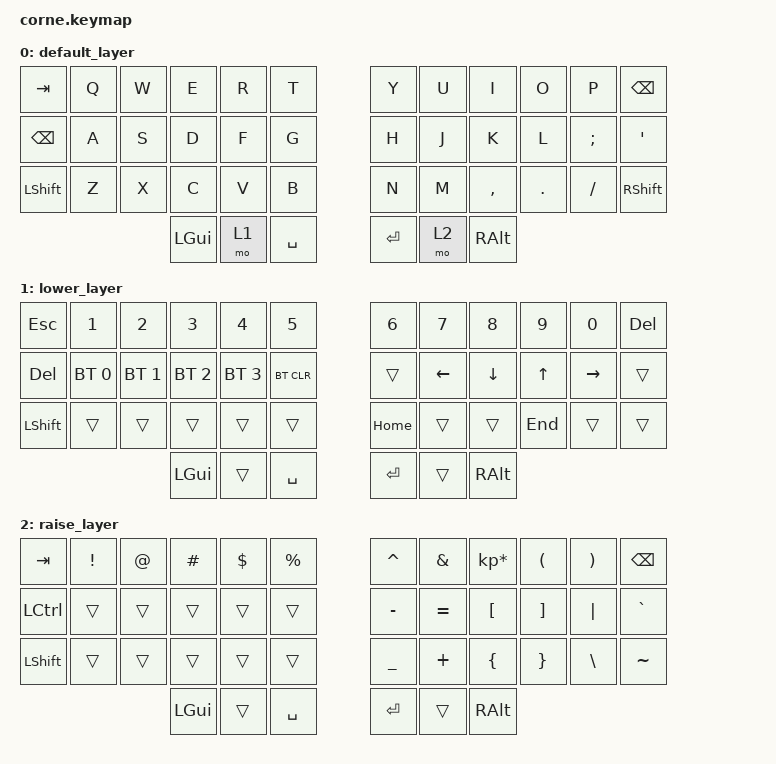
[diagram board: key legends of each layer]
/*
 * Copyright (c) 2020 The ZMK Contributors
 *
 * SPDX-License-Identifier: MIT
 */

#include <behaviors.dtsi>
#include <dt-bindings/zmk/keys.h>
#include <dt-bindings/zmk/bt.h>

/ {
        keymap {
                compatible = "zmk,keymap";

                default_layer {
// -----------------------------------------------------------------------------------------
// |  TAB |  Q  |  W  |  E  |  R  |  T  |   |  Y  |  U   |  I  |  O  |  P  | BKSP |
// | BKSP |  A  |  S  |  D  |  F  |  G  |   |  H  |  J   |  K  |  L  |  ;  |  '   |
// | SHFT |  Z  |  X  |  C  |  V  |  B  |   |  N  |  M   |  ,  |  .  |  /  | SHFT |
//                    | GUI | LWR | SPC |   | ENT | RSE  | ALT |
                        bindings = <
   &kp TAB   &kp Q &kp W &kp E &kp R &kp T   &kp Y &kp U  &kp I     &kp O   &kp P    &kp BSPC
   &kp BSPC  &kp A &kp S &kp D &kp F &kp G   &kp H &kp J  &kp K     &kp L   &kp SEMI &kp SQT
   &kp LSHFT &kp Z &kp X &kp C &kp V &kp B   &kp N &kp M  &kp COMMA &kp DOT &kp FSLH &kp RSHFT
                  &kp LGUI &mo 1 &kp SPACE   &kp RET &mo 2 &kp RALT
                        >;
                };
                lower_layer {
// -----------------------------------------------------------------------------------------
// |  ESC |  1  |  2  |  3  |  4  |  5  |   |  6  |  7  |  8  |  9  |  0  | DEL  |
// | DEL  | BT1 | BT2 | BT3 | BT4 |BTCLR|   | LFT | DWN |  UP | RGT |     |      |
// | SHFT |     |     |     |     |     |   | Home|     |     | End |    |      |
//                    | GUI |     | SPC |   | ENT |     | ALT |
                        bindings = <
   &kp ESC    &kp N1       &kp N2       &kp N3       &kp N4       &kp N5     &kp N6   &kp N7   &kp N8   &kp N9  &kp N0     &kp DEL
   &kp DEL &bt BT_SEL 0 &bt BT_SEL 1 &bt BT_SEL 2 &bt BT_SEL 3 &bt BT_CLR    &trans   &kp LEFT &kp DOWN &kp UP  &kp RIGHT  &trans
   &kp LSHFT  &trans       &trans       &trans       &trans       &trans     &kp HOME &trans   &trans   &kp END &trans     &trans
                          	        &kp LGUI     &trans       &kp SPACE  &kp RET  &trans   &kp RALT
                        >;
                };

                raise_layer {
// -----------------------------------------------------------------------------------------
// |  TAB |  !  |  @  |  #  |  $  |  %  |   |  ^  |  &  |  *  |  (  |  )  | BKSP |
// | CTRL |     |     |     |     |     |   |  -  |  =  |  [  |  ]  | "|" |  `   |
// | SHFT |     |     |     |     |     |   |  _  |  +  |  {  |  }  |  \  |  ~   |
//                    | GUI |     | SPC |   | ENT |     | ALT |
                        bindings = <
   &kp  TAB  &kp EXCL &kp AT &kp HASH &kp DLLR &kp PRCNT   &kp CARET &kp AMPS  &kp KP_MULTIPLY &kp LPAR &kp RPAR &kp BSPC
   &kp LCTRL &trans   &trans &trans   &trans   &trans      &kp MINUS &kp EQUAL &kp LBKT        &kp RBKT &kp PIPE &kp GRAVE
   &kp LSHFT &trans   &trans &trans   &trans   &trans      &kp UNDER &kp PLUS  &kp LBRC        &kp RBRC &kp BSLH &kp TILDE
                    	     &kp LGUI &trans   &kp SPACE   &kp RET   &trans    &kp RALT
                        >;
                };
        };
};
